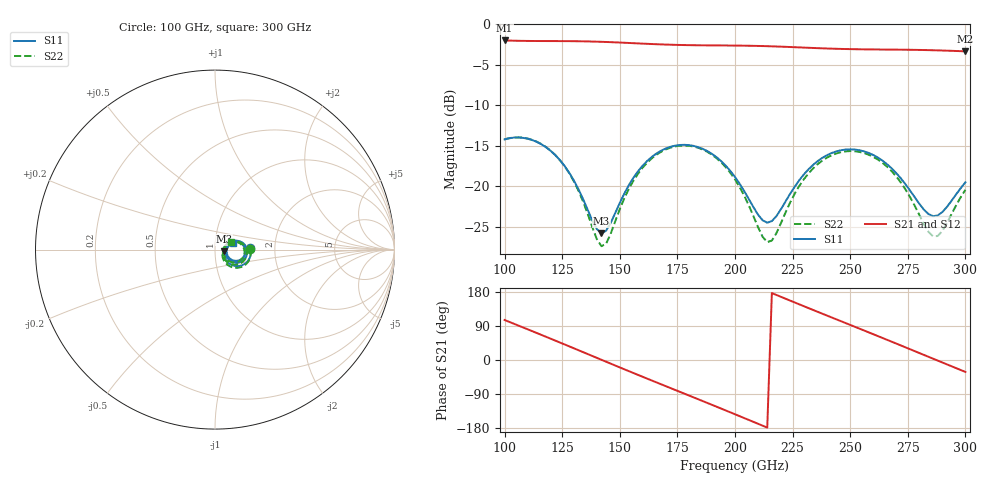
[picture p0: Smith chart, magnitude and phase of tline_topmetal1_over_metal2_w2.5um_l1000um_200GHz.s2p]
#  GHZ S DB R 50
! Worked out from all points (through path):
!   101 points, 100 GHz to 300 GHz, reference 50 ohm
!   highest |S21| = -1.99 dB at 100 GHz (marker M1); lowest = -3.3 dB at 300 GHz (marker M2)
!   group delay of S21, straight-line fit = 6.9 ps
!   lowest |S11| = -25.8 dB at 142 GHz (marker M3), VSWR 1.11, Z = 55.3 - j1.07 ohm
!   |S11| at or under -10 dB: start of sweep to end of sweep
!   |S22| runs from -27.4 to -13.9 dB; largest |S21 - S12| = 1.2e-13
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100  -14.20 2.4  -1.99 105.6  -1.99 105.6  -14.19 0.3
108  -14.01 -12.3  -2.04 85.9  -2.04 85.9  -13.98 -15.1
116  -14.80 -26.6  -2.06 66.2  -2.06 66.2  -14.78 -30.2
126  -17.46 -41.3  -2.07 41.2  -2.07 41.2  -17.49 -46.6
134  -21.52 -43.3  -2.10 20.9  -2.10 20.9  -21.82 -51.2
142  -25.77 -10.8  -2.16 0.6  -2.16 0.6  -27.37 -16.7
144  -25.48 2.5  -2.18 -4.4  -2.18 -4.4  -27.09 0.3
154  -19.80 26.0  -2.30 -29.6  -2.30 -29.6  -20.26 26.9
168  -15.58 10.2  -2.48 -64.2  -2.48 -64.2  -15.71 8.5
184  -15.15 -16.2  -2.59 -103.5  -2.59 -103.5  -15.23 -20.4
200  -18.83 -36.0  -2.62 -143.2  -2.62 -143.2  -19.14 -44.2
214  -24.47 -7.6  -2.70 -178.4  -2.70 -178.4  -26.87 -13.6
218  -23.65 10.0  -2.74 171.6  -2.74 171.6  -25.75 11.8
224  -20.88 21.9  -2.80 156.6  -2.80 156.6  -21.95 25.7
234  -17.31 17.7  -2.92 131.8  -2.92 131.8  -17.75 19.1
250  -15.42 -4.9  -3.06 92.6  -3.06 92.6  -15.64 -6.8
258  -15.87 -16.9  -3.10 73.0  -3.10 73.0  -16.08 -20.4
268  -17.77 -28.8  -3.12 48.3  -3.12 48.3  -18.12 -35.0
278  -21.33 -29.1  -3.15 23.4  -3.15 23.4  -22.38 -38.7
286  -23.67 -7.4  -3.20 3.4  -3.20 3.4  -26.16 -12.0
290  -23.16 6.9  -3.23 -6.6  -3.23 -6.6  -25.49 9.5
300  -19.49 19.8  -3.33 -31.4  -3.33 -31.4  -20.41 25.0
